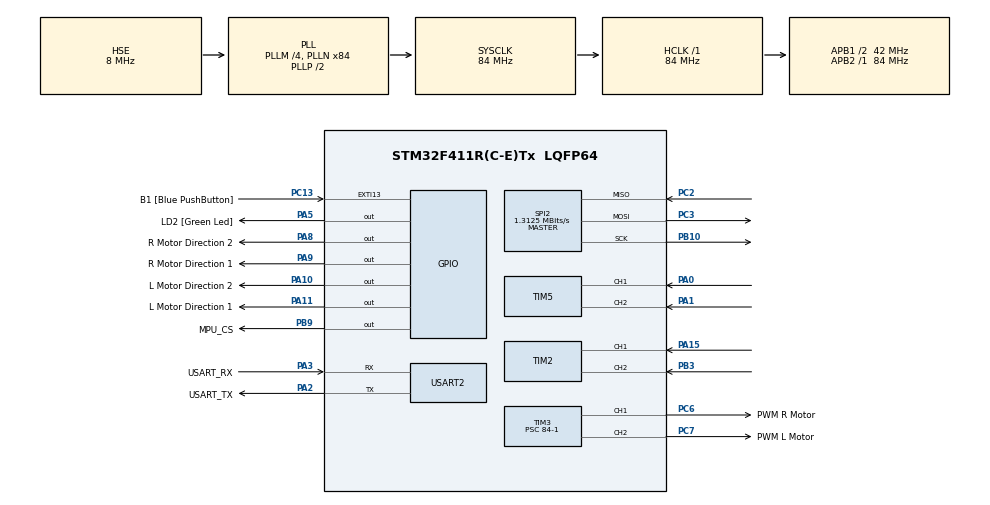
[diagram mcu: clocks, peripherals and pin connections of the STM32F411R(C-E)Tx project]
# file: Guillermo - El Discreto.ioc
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Mcu.Family=STM32F4
Mcu.Name=STM32F411R(C-E)Tx
Mcu.Package=LQFP64
NVIC.PriorityGroup=NVIC_PRIORITYGROUP_0
NVIC.TIM1_BRK_TIM9_IRQn=true\:0\:0\:false\:true\:true\:2\:true\:true\:true
NVIC.TIM4_IRQn=true\:0\:0\:false\:true\:true\:1\:true\:true\:true
PA0-WKUP.Signal=S_TIM5_CH1
PA1.Signal=S_TIM5_CH2
PA10.GPIO_Label=L Motor Direction 2
PA10.Signal=GPIO_Output
PA11.GPIO_Label=L Motor Direction 1
PA11.Signal=GPIO_Output
PA13.GPIO_Label=TMS
PA13.Mode=Serial_Wire
PA13.Signal=SYS_JTMS-SWDIO
PA14.GPIO_Label=TCK
PA14.Mode=Serial_Wire
PA14.Signal=SYS_JTCK-SWCLK
PA15.Signal=S_TIM2_CH1_ETR
PA2.GPIO_Label=USART_TX
PA2.Mode=Asynchronous
PA2.Signal=USART2_TX
PA3.GPIO_Label=USART_RX
PA3.Mode=Asynchronous
PA3.Signal=USART2_RX
PA5.GPIO_Label=LD2 [Green Led]
PA5.Signal=GPIO_Output
PA8.GPIO_Label=R Motor Direction 2
PA8.Signal=GPIO_Output
PA9.GPIO_Label=R Motor Direction 1
PA9.PinState=GPIO_PIN_SET
PA9.Signal=GPIO_Output
PB10.Mode=Full_Duplex_Master
PB10.Signal=SPI2_SCK
PB3.Signal=S_TIM2_CH2
PB9.GPIO_Label=MPU_CS
PB9.PinState=GPIO_PIN_SET
PB9.Signal=GPIO_Output
PC13-ANTI_TAMP.GPIO_Label=B1 [Blue PushButton]
PC13-ANTI_TAMP.GPIO_ModeDefaultEXTI=GPIO_MODE_IT_FALLING
PC13-ANTI_TAMP.Signal=GPXTI13
PC14-OSC32_IN.Mode=LSE-External-Oscillator
PC14-OSC32_IN.Signal=RCC_OSC32_IN
PC15-OSC32_OUT.Mode=LSE-External-Oscillator
PC15-OSC32_OUT.Signal=RCC_OSC32_OUT
PC2.Mode=Full_Duplex_Master
PC2.Signal=SPI2_MISO
PC3.Mode=Full_Duplex_Master
PC3.Signal=SPI2_MOSI
PC6.GPIO_Label=PWM R Motor
PC6.Signal=S_TIM3_CH1
PC7.GPIO_Label=PWM L Motor
PC7.Signal=S_TIM3_CH2
PH0\ -\ OSC_IN.Mode=HSE-External-Oscillator
PH0\ -\ OSC_IN.Signal=RCC_OSC_IN
PH1\ -\ OSC_OUT.Mode=HSE-External-Oscillator
PH1\ -\ OSC_OUT.Signal=RCC_OSC_OUT
ProjectManager.HeapSize=0x200
ProjectManager.StackSize=0x400
ProjectManager.TargetToolchain=STM32CubeIDE
RCC.48MHZClocksFreq_Value=42000000
RCC.AHBFreq_Value=84000000
RCC.APB1CLKDivider=RCC_HCLK_DIV2
RCC.APB1Freq_Value=42000000
RCC.APB1TimFreq_Value=84000000
RCC.APB2Freq_Value=84000000
RCC.APB2TimFreq_Value=84000000
RCC.CortexFreq_Value=84000000
RCC.FLatency-AdvancedSettings=FLASH_LATENCY_2
RCC.HCLKFreq_Value=84000000
RCC.HSE_VALUE=8000000
RCC.HSI_VALUE=16000000
RCC.PLLM=4
RCC.PLLN=84
RCC.PLLSourceVirtual=RCC_PLLSOURCE_HSE
RCC.SYSCLKFreq_VALUE=84000000
RCC.SYSCLKSource=RCC_SYSCLKSOURCE_PLLCLK
RCC.VCOOutputFreq_Value=168000000
SH.S_TIM2_CH1_ETR.0=TIM2_CH1,Encoder_Interface
SH.S_TIM2_CH2.0=TIM2_CH2,Encoder_Interface
SH.S_TIM3_CH1.0=TIM3_CH1,PWM Generation1 CH1
SH.S_TIM3_CH2.0=TIM3_CH2,PWM Generation2 CH2
SH.S_TIM5_CH1.0=TIM5_CH1,Encoder_Interface
SH.S_TIM5_CH2.0=TIM5_CH2,Encoder_Interface
SPI2.BaudRatePrescaler=SPI_BAUDRATEPRESCALER_32
SPI2.CLKPhase=SPI_PHASE_2EDGE
SPI2.CLKPolarity=SPI_POLARITY_HIGH
SPI2.CalculateBaudRate=1.3125 MBits/s
SPI2.Direction=SPI_DIRECTION_2LINES
SPI2.Mode=SPI_MODE_MASTER
SPI2.VirtualType=VM_MASTER
TIM2.EncoderMode=TIM_ENCODERMODE_TI12
TIM3.AutoReloadPreload=TIM_AUTORELOAD_PRELOAD_ENABLE
TIM3.Channel-PWM\ Generation1\ CH1=TIM_CHANNEL_1
TIM3.Channel-PWM\ Generation2\ CH2=TIM_CHANNEL_2
TIM3.Period=1000-1
TIM3.Prescaler=84-1
TIM4.AutoReloadPreload=TIM_AUTORELOAD_PRELOAD_ENABLE
TIM4.Period=1000-1
TIM4.Prescaler=84-1
TIM5.EncoderMode=TIM_ENCODERMODE_TI12
TIM9.AutoReloadPreload=TIM_AUTORELOAD_PRELOAD_ENABLE
TIM9.Period=10000-1
TIM9.Prescaler=84-1
USART2.VirtualMode=VM_ASYNC
VP_TIM3_VS_ClockSourceINT.Mode=Internal
VP_TIM4_VS_ClockSourceINT.Mode=Internal
VP_TIM9_VS_ClockSourceINT.Mode=Internal
board=NUCLEO-F411RE

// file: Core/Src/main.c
/* USER CODE BEGIN Header */
/**
  ******************************************************************************
  * @file           : main.c
  * @brief          : Main program body
  ******************************************************************************
  * @attention
  *
  * Copyright (c) 2026 STMicroelectronics.
  * All rights reserved.
  *
  * This software is licensed under terms that can be found in the LICENSE file
  * in the root directory of this software component.
  * If no LICENSE file comes with this software, it is provided AS-IS.
  *
  ******************************************************************************
  */
/* USER CODE END Header */
#include "main.h"
#include "spi.h"
#include "tim.h"
#include "usart.h"
#include "gpio.h"

/* USER CODE BEGIN Includes */
#include "stdio.h"
#include "math.h"
#include "mpu9250.h"
#define Num_Coeficientes 3
/* USER CODE END Includes */

/* USER CODE BEGIN PD */
#define KP 0.970f			// valores funcionales hasta ahora KP 0.951 T1 1000.70 TD 0.0025   //con 0.980 se vuelve inestable
#define TI 0.34f			//5.0f
#define TD 0.0050f	// probar kp 1.5	// ultimos valores chidos 28 jul 0.916 KP, 100.70 KI, 0.0025 TD
//Limite inferior: 0.0001f					// mejores valores kP 0.970 TI 0.24 TD 0.0055
//Limite superior: 0.00014f
#define T0 0.001f
#define KPVEL 0.150f
#define TIVEL 1000.0f
#define TDVEL 0.00f			// Ti 0.70 t TD 0.013
#define T0VEL 0.010f

#define MOTOR_R_SCALE 1.00f
#define MOTOR_L_SCALE 1.060f

#define PPR 318.0f
#define ALPHA_MOTORS 0.1666f
#define ENCODERMOD 4.0f

#define PWM_DEADBAND 200.0f

/* USER CODE END PD */

/* USER CODE BEGIN PV */
//	VARIABLES PARA MPU9250
MPU9250 imu;
volatile uint8_t imu_sample_flag = 0;

// VARIABLES PID POSICION
volatile float e0 = 0.0f;
volatile float e1 = 0.0f;
volatile float e2 = 0.0f;
volatile float u = 0.0f;
volatile float delta_u = 0;

volatile float PWM_raw = 0.0;
volatile float PWM = 0.0;
volatile float u_temp = 0;

const float q0 = KP*(1.0f + (T0/(2.0f*TI)) + (TD/T0));
const float q1 = -KP*(1.0f - (T0/(2.0f*TI)) + (2.0f*TD/T0));
const float q2 = (KP*TD)/T0;

// VARIABLES PID VELOCIDAD
volatile float e0_vel = 0.0f;
volatile float e1_vel = 0.0f;
volatile float e2_vel = 0.0f;
volatile float u_vel = 0.0f;
volatile float delta_u_vel = 0;

const float q0_vel = KPVEL*(1.0f + (T0VEL/(2.0f*TIVEL)) + (TDVEL/T0VEL));
const float q1_vel = -KPVEL*(1.0f - (T0VEL/(2.0f*TIVEL)) + (2.0f*TDVEL/T0VEL));
const float q2_vel = (KPVEL*TDVEL)/T0VEL;

volatile uint32_t encoderR_count[2] = {0, 0};
volatile uint32_t encoderL_count[2] = {0, 0};

volatile float motorL_Rev[2] = {0.0, 0.0};
volatile float motorR_Rev[2] = {0.0, 0.0};

volatile float motors_filter[2] = {0.0, 0.0};

volatile float setpoint_vel = 1.0f;

uint8_t print_count = 0;

//Implementacion de el filtro IIR
//Tipo de filtro: Pasa Bajas - Inverse Chebyshev -
//Grado: 6
// Frecuencia de corte: 100Hz
const float ROM_A[Num_Coeficientes] = {0.0593f, 0.0914f, 0.0593f}; //Coeficientes que multiplican la entrada
const float ROM_B[Num_Coeficientes] = {1.0f, -1.2578f, 0.4678f}; //Coeficientes que multiplican la salida

volatile float RAM_Entrada[Num_Coeficientes] = {0.0};
volatile float RAM_Salida[Num_Coeficientes] = {0.0};
volatile float angulo_filtrado = 0.0f;

float temp = 0.0;

/* USER CODE END PV */

void SystemClock_Config(void);
static void MX_NVIC_Init(void);
/* USER CODE BEGIN PFP */
int uart2_write(int ch);
int __io_putchar(int ch);
uint32_t Leer_Encoder(TIM_HandleTypeDef *htim);
float Filtro_IIR_MPU(float);
/* USER CODE END PFP */

int main(void)
{

  /* MCU Configuration--------------------------------------------------------*/

  /* Reset of all peripherals, Initializes the Flash interface and the Systick. */
  HAL_Init();

  /* Configure the system clock */
  SystemClock_Config();

  /* Initialize all configured peripherals */
  MX_GPIO_Init();
  MX_USART2_UART_Init();
  MX_TIM2_Init();
  MX_TIM3_Init();
  MX_TIM4_Init();
  MX_SPI2_Init();
  MX_TIM5_Init();
  MX_TIM9_Init();

  /* Initialize interrupts */
  MX_NVIC_Init();
  /* USER CODE BEGIN 2 */
  HAL_TIM_PWM_Start(&htim3, TIM_CHANNEL_1);
  HAL_TIM_PWM_Start(&htim3, TIM_CHANNEL_2);

  //printf("hola");
  printf("vel set,Uv,tiempo");
  //I2C_Scan(&hi2c2);

  //	Iniciamos el sensr
  //MPU9250_Init(&imu, &hi2c2);

  //MPU9250_Calibrate(&imu, 1000);

  if(MPU9250_Init(&imu, &hspi2, MPU_CS_GPIO_Port, MPU_CS_Pin) != HAL_OK)
  {
      while(1) { HAL_GPIO_TogglePin(GPIOA, LD2_Pin); HAL_Delay(100); }
  }

  MPU9250_Calibrate(&imu, 1000);

  HAL_TIM_Base_Start_IT(&htim4);
  HAL_TIM_Base_Start_IT(&htim9);

  HAL_TIM_Encoder_Start(&htim2, TIM_CHANNEL_ALL);
  HAL_TIM_Encoder_Start(&htim5, TIM_CHANNEL_ALL);

  /* USER CODE END 2 */

  /* Infinite loop */
  /* USER CODE BEGIN WHILE */
  while (1)
  {

		 if(print_count == 10)
		 {

		   print_count = 0;
		  //printf("Pitch: %.2f U: %.2f	MR: %.2f ML: %.2f\r\n" , imu.roll, u,motors_filter[0], motors_filter[1] ); // antes - 7.10
		   printf("%.2f, %.2f, %.2f \r\n",setpoint_vel,u_vel, temp );
		  // printf("%.2f,%.2f,%.2f\n",imu.roll,angulo_filtrado,t);

		 }

    /* USER CODE END WHILE */

  }
}

void SystemClock_Config(void)
{
  RCC_OscInitTypeDef RCC_OscInitStruct = {0};
  RCC_ClkInitTypeDef RCC_ClkInitStruct = {0};

  /** Configure the main internal regulator output voltage
  */
  __HAL_RCC_PWR_CLK_ENABLE();
  __HAL_PWR_VOLTAGESCALING_CONFIG(PWR_REGULATOR_VOLTAGE_SCALE1);

  /** Initializes the RCC Oscillators according to the specified parameters
  * in the RCC_OscInitTypeDef structure.
  */
  RCC_OscInitStruct.OscillatorType = RCC_OSCILLATORTYPE_HSE;
  RCC_OscInitStruct.HSEState = RCC_HSE_ON;
  RCC_OscInitStruct.PLL.PLLState = RCC_PLL_ON;
  RCC_OscInitStruct.PLL.PLLSource = RCC_PLLSOURCE_HSE;
  RCC_OscInitStruct.PLL.PLLM = 4;
  RCC_OscInitStruct.PLL.PLLN = 84;
  RCC_OscInitStruct.PLL.PLLP = RCC_PLLP_DIV2;
  RCC_OscInitStruct.PLL.PLLQ = 4;
  if (HAL_RCC_OscConfig(&RCC_OscInitStruct) != HAL_OK)
  {
    Error_Handler();
  }

  /** Initializes the CPU, AHB and APB buses clocks
  */
  RCC_ClkInitStruct.ClockType = RCC_CLOCKTYPE_HCLK|RCC_CLOCKTYPE_SYSCLK
                              |RCC_CLOCKTYPE_PCLK1|RCC_CLOCKTYPE_PCLK2;
  RCC_ClkInitStruct.SYSCLKSource = RCC_SYSCLKSOURCE_PLLCLK;
  RCC_ClkInitStruct.AHBCLKDivider = RCC_SYSCLK_DIV1;
  RCC_ClkInitStruct.APB1CLKDivider = RCC_HCLK_DIV2;
  RCC_ClkInitStruct.APB2CLKDivider = RCC_HCLK_DIV1;

  if (HAL_RCC_ClockConfig(&RCC_ClkInitStruct, FLASH_LATENCY_2) != HAL_OK)
  {
    Error_Handler();
  }
}

/**
  * @brief NVIC Configuration.
  * @retval None
  */
static void MX_NVIC_Init(void)
{
  /* TIM4_IRQn interrupt configuration */
  HAL_NVIC_SetPriority(TIM4_IRQn, 0, 0);
  HAL_NVIC_EnableIRQ(TIM4_IRQn);
  /* TIM1_BRK_TIM9_IRQn interrupt configuration */
  HAL_NVIC_SetPriority(TIM1_BRK_TIM9_IRQn, 0, 0);
  HAL_NVIC_EnableIRQ(TIM1_BRK_TIM9_IRQn);
}

/* USER CODE BEGIN 4 */
int uart2_write(int ch)
{
	while(!(USART2 -> SR & USART_SR_TXE)) {}
	USART2 -> DR = (ch & 0xFF);
	return ch;
}

int __io_putchar(int ch)
{
	uart2_write(ch);
	return ch;
}

void HAL_TIM_PeriodElapsedCallback(TIM_HandleTypeDef* htim)
{
	if(htim -> Instance == TIM4)
	{
			print_count++;

			if(MPU9250_GetData(&imu) == HAL_OK)
			{
				MPU9250_Update(&imu, 0.001f);
			}

			angulo_filtrado = Filtro_IIR_MPU(imu.roll); //
			  /*
			  * CONTROL PID POSICION
			  */

			 e0 = (-4.60 +u_vel) - angulo_filtrado;
			 delta_u = (q0*e0)+(q1*e1)+(q2*e2);

			 float u_temp = u + delta_u;

			 if(u_temp < 10.4f && u_temp > -10.4f)
			     u = u_temp;

			 if(u >= 10.4)
			 {
			  u = 10.4;
			 }
			 if(u <= -10.4)
			 {
			  u = -10.4;
			 }

			 if((e0 >= -0.20)&&(e0 <= 0.20))
			 {
				 u = 0.0;
			 }

			 PWM_raw = (fabs(u)/10.4f)*1000.0f;

			 if(PWM_raw > 0.0f)
			 {
			     PWM = PWM_DEADBAND + (PWM_raw * (1000.0f - PWM_DEADBAND) / 1000.0f);
			 }
			 else
			 {
			     PWM = 0.0f;
			 }

			 /*
			 *  ASIGNACION DE PWM Y SENTIDO DE PINES
			 */

			 float PWM_R = PWM * MOTOR_R_SCALE;
			 float PWM_L = PWM * MOTOR_L_SCALE;

			 if(PWM_R > 1000.0f) PWM_R = 1000.0f;
			 if(PWM_L > 1000.0f) PWM_L = 1000.0f;

			 if(u >= 0.0)
			 {

			    HAL_GPIO_WritePin(GPIOA, R_Motor_Direction_2_Pin, 0);
			    HAL_GPIO_WritePin(GPIOA, R_Motor_Direction_1_Pin, 1);

			 	HAL_GPIO_WritePin(GPIOA, L_Motor_Direction_2_Pin, 0);
			    HAL_GPIO_WritePin(GPIOA, L_Motor_Direction_1_Pin, 1);

			 }
			 if(u < 0.0){

				 HAL_GPIO_WritePin(GPIOA, R_Motor_Direction_2_Pin, 1);
				 HAL_GPIO_WritePin(GPIOA, R_Motor_Direction_1_Pin, 0);

				 HAL_GPIO_WritePin(GPIOA, L_Motor_Direction_2_Pin, 1);
				 HAL_GPIO_WritePin(GPIOA, L_Motor_Direction_1_Pin, 0);

			 }

			 e2 = e1;
			 e1 = e0;

			 __HAL_TIM_SET_COMPARE(&htim3, TIM_CHANNEL_1, PWM_R);
			 __HAL_TIM_SET_COMPARE(&htim3, TIM_CHANNEL_2, PWM_L);

			print_count += 1;
			 temp += 0.001;

	}

	if(htim -> Instance == TIM9)
	{
		encoderR_count[0] = Leer_Encoder(&htim2);
		encoderL_count[0] = Leer_Encoder(&htim5);

		motorR_Rev[0] = (float)(((float)encoderR_count[0] - (float)encoderR_count[1])*60)/(PPR*ENCODERMOD*0.010);
		motorL_Rev[0] = (float)(((float)encoderL_count[0] - (float)encoderL_count[1])*60)/(PPR*ENCODERMOD*0.010);

		motors_filter[0] = (ALPHA_MOTORS*motorR_Rev[0])+(1.0 - ALPHA_MOTORS)*(motorR_Rev[1]);
		motors_filter[1] = (ALPHA_MOTORS*motorL_Rev[0])+(1.0 - ALPHA_MOTORS)*(motorL_Rev[1]);

		float prom = (motors_filter[0] + motors_filter[1])/2.0;

		e0_vel = setpoint_vel - prom;
		delta_u_vel = (q0_vel*e0_vel)+(q1_vel*e1_vel)+(q2_vel*e2_vel);

		float u_vel_temp = u_vel + delta_u_vel;
		if(u_vel_temp < 1.0f && u_vel_temp > -1.0f)
		    u_vel = u_vel_temp;

		if(u_vel >= 1.0f)  u_vel = 1.0f;
		if(u_vel <= -1.0f) u_vel = -1.0f;

		motorR_Rev[1] = motors_filter[0];
		motorL_Rev[1] = motors_filter[1];

		encoderR_count[1] = encoderR_count[0];
		encoderL_count[1] = encoderL_count[0];

		e2_vel = e1_vel;
		e1_vel = e0_vel;

	}

}

	uint32_t Leer_Encoder(TIM_HandleTypeDef *htim){
		return __HAL_TIM_GET_COUNTER(htim);
	}

float Filtro_IIR_MPU(float Nueva_Entrada_X)
{
  for(int i = Num_Coeficientes - 1; i > 0; i--)
  {
    RAM_Entrada[i] = RAM_Entrada[i - 1];
    RAM_Salida[i] = RAM_Salida[i - 1];
  }

  RAM_Entrada[0] = Nueva_Entrada_X;

  float Suma_Entradas = 0.0f;
  for(int i = 0; i < Num_Coeficientes; i++)
  {
    Suma_Entradas += ROM_A[i] * RAM_Entrada[i];
  }

  float Suma_Salidas = 0.0f;
  for(int i = 1; i < Num_Coeficientes; i++)
  {
    Suma_Salidas += ROM_B[i] * RAM_Salida[i];
  }
  RAM_Salida[0] = Suma_Entradas - Suma_Salidas;

  return RAM_Salida[0];
}

/* USER CODE END 4 */

void Error_Handler(void)
{
  __disable_irq();
  while (1)
  {
  }
}
